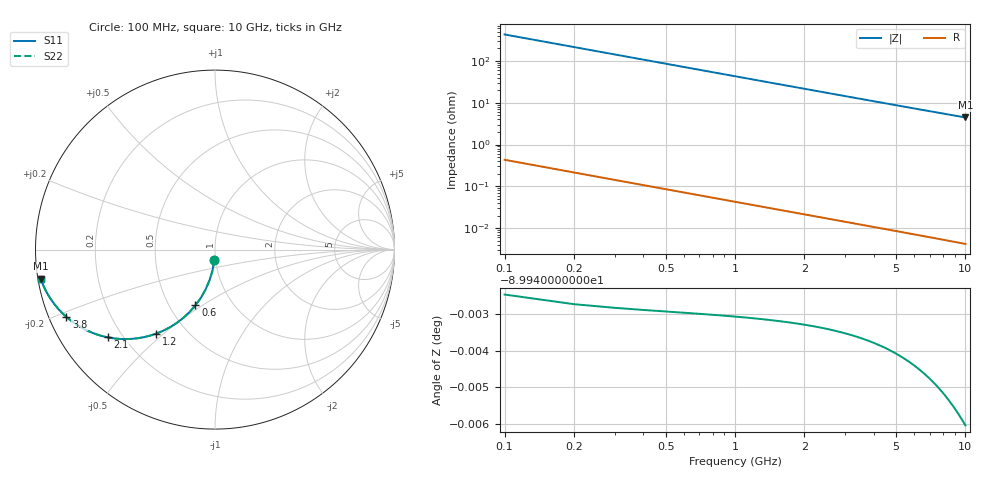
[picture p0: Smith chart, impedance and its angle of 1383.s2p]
# Hz S RI R 50.00
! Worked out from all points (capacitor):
!   100 points, 100 MHz to 10 GHz, reference 50 ohm
!   read as one part in shunt: C = 3.71 pF near 100 MHz
!   lowest |Z| = 4.45 ohm at 10 GHz (marker M1)
!   S11 on the Smith chart (normalised r, x): 100 MHz: 0.99, -0.11; 600 MHz: 0.67, -0.47; 1.2 GHz: 0.34, -0.47; 2.1 GHz: 0.14, -0.35; 3.8 GHz: 0.05, -0.22; 10 GHz: 0.01, -0.08
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1e8  -0.00343 -0.058  0.9966 -0.0581  0.9966 -0.0581  -0.00343 -0.058
2e8  -0.0135 -0.1148  0.9865 -0.115  0.9865 -0.115  -0.0135 -0.1148
3e8  -0.0297 -0.1693  0.9702 -0.1696  0.9702 -0.1696  -0.0297 -0.1693
4e8  -0.0516 -0.2206  0.9484 -0.2209  0.9484 -0.2209  -0.0516 -0.2206
5e8  -0.0783 -0.2679  0.9217 -0.2684  0.9217 -0.2684  -0.0783 -0.2679
6e8  -0.1089 -0.3107  0.8911 -0.3113  0.8911 -0.3113  -0.1089 -0.3107
7e8  -0.1425 -0.3487  0.8575 -0.3494  0.8575 -0.3494  -0.1425 -0.3487
9e8  -0.2152 -0.41  0.7848 -0.4109  0.7848 -0.4109  -0.2152 -0.41
1.2e9  -0.3273 -0.4681  0.6727 -0.4693  0.6727 -0.4693  -0.3273 -0.4681
1.5e9  -0.4315 -0.494  0.5685 -0.4955  0.5685 -0.4955  -0.4315 -0.494
1.8e9  -0.5217 -0.4981  0.4783 -0.4999  0.4783 -0.4999  -0.5217 -0.4981
2.1e9  -0.5971 -0.4889  0.4028 -0.491  0.4028 -0.491  -0.5971 -0.4889
2.4e9  -0.6591 -0.4723  0.3409 -0.4747  0.3409 -0.4747  -0.6591 -0.4723
2.7e9  -0.7095 -0.4521  0.2904 -0.4548  0.2904 -0.4548  -0.7095 -0.4521
3e9  -0.7507 -0.4306  0.2492 -0.4336  0.2492 -0.4336  -0.7507 -0.4306
3.4e9  -0.7943 -0.402  0.2056 -0.4054  0.2056 -0.4054  -0.7943 -0.402
3.8e9  -0.8281 -0.3749  0.1719 -0.3787  0.1719 -0.3787  -0.8281 -0.3749
4.4e9  -0.8657 -0.3382  0.1343 -0.3426  0.1343 -0.3426  -0.8657 -0.3382
5.1e9  -0.8963 -0.3017  0.1036 -0.3069  0.1036 -0.3069  -0.8963 -0.3017
6.7e9  -0.9371 -0.2388  0.0629 -0.2457  0.0629 -0.2457  -0.9371 -0.2388
8.4e9  -0.959 -0.1933  0.0409 -0.2019  0.0409 -0.2019  -0.959 -0.1933
1e10  -0.9708 -0.1626  0.0291 -0.1729  0.0291 -0.1729  -0.9708 -0.1626
